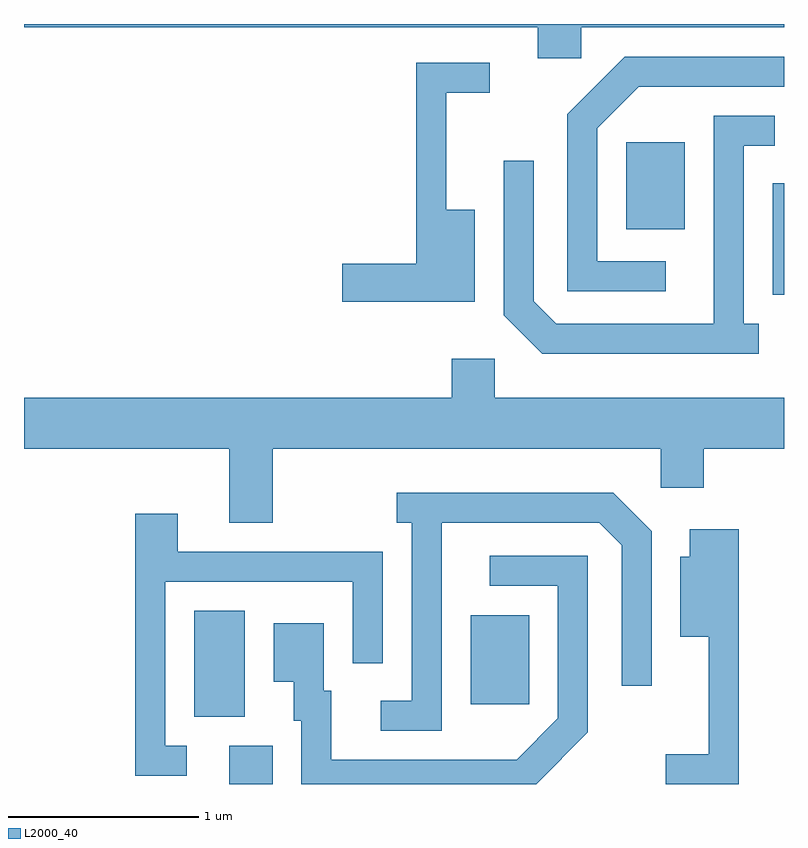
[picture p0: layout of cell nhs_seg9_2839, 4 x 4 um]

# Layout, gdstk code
import gdstk
lib = gdstk.Library(unit=1e-6, precision=1e-09)
def R(c, l, rs):  # rectangles x0, y0, x1, y1
    for r in rs: c.add(gdstk.rectangle(r[:2], r[2:], *l))
def P(c, l, *ps):  # polygons
    for p in ps: c.add(gdstk.Polygon(p, *l))
L2000_40 = (2000, 40)

nhs_seg9_2839 = lib.new_cell('nhs_seg9_2839')
R(nhs_seg9_2839, L2000_40, [(268.691,2054.432,268.919,2054.634), (268.506,2054.786,268.774,2055.344), (269.961,2054.851,270.269,2055.319), (271.551,2057.006,271.611,2057.593), (270.781,2057.351,271.089,2057.809)])
P(nhs_seg9_2839, L2000_40, [(270.544,2058.416),(271.611,2058.416),(271.611,2058.432),(267.611,2058.432),(267.611,2058.416),(270.316,2058.416),(270.316,2058.251),(270.544,2058.251)],
  [(270.988,2057.184),(270.629,2057.184),(270.629,2057.884),(270.847,2058.101),(271.611,2058.101),(271.611,2058.259),(270.774,2058.259),(270.471,2057.957),(270.471,2057.026),(270.988,2057.026)],
  [(269.984,2057.454),(269.834,2057.454),(269.834,2058.071),(270.063,2058.071),(270.063,2058.229),(269.676,2058.229),(269.676,2057.169),(269.286,2057.169),(269.286,2056.971),(269.984,2056.971)],
  [(271.478,2056.854),(271.399,2056.854),(271.399,2057.791),(271.563,2057.791),(271.563,2057.949),(271.241,2057.949),(271.241,2056.854),(270.412,2056.854),(270.294,2056.972),(270.294,2057.713),(270.136,2057.713),(270.136,2056.899),(270.339,2056.696),(271.478,2056.696)],
  [(268.919,2056.196),(270.961,2056.196),(270.961,2055.991),(271.189,2055.991),(271.189,2056.196),(271.611,2056.196),(271.611,2056.464),(270.089,2056.464),(270.089,2056.669),(269.861,2056.669),(269.861,2056.464),(267.611,2056.464),(267.611,2056.196),(268.691,2056.196),(268.691,2055.806),(268.919,2055.806)],
  [(269.809,2055.806),(270.639,2055.806),(270.756,2055.689),(270.756,2054.948),(270.914,2054.948),(270.914,2055.762),(270.712,2055.964),(269.573,2055.964),(269.573,2055.806),(269.651,2055.806),(269.651,2054.869),(269.488,2054.869),(269.488,2054.711),(269.809,2054.711)],
  [(268.468,2054.634),(268.354,2054.634),(268.354,2055.496),(269.341,2055.496),(269.341,2055.068),(269.499,2055.068),(269.499,2055.654),(268.419,2055.654),(268.419,2055.854),(268.196,2055.854),(268.196,2054.476),(268.468,2054.476)],
  [(271.374,2055.774),(271.116,2055.774),(271.116,2055.629),(271.066,2055.629),(271.066,2055.206),(271.216,2055.206),(271.216,2054.589),(270.988,2054.589),(270.988,2054.432),(271.374,2054.432)],
  [(270.579,2054.704),(270.579,2055.634),(270.063,2055.634),(270.063,2055.476),(270.421,2055.476),(270.421,2054.777),(270.204,2054.559),(269.229,2054.559),(269.229,2054.924),(269.189,2054.924),(269.189,2055.279),(268.926,2055.279),(268.926,2054.971),(269.031,2054.971),(269.031,2054.766),(269.071,2054.766),(269.071,2054.432),(270.308,2054.432)])

lib.write_gds('nhs_seg9_2839.gds')
